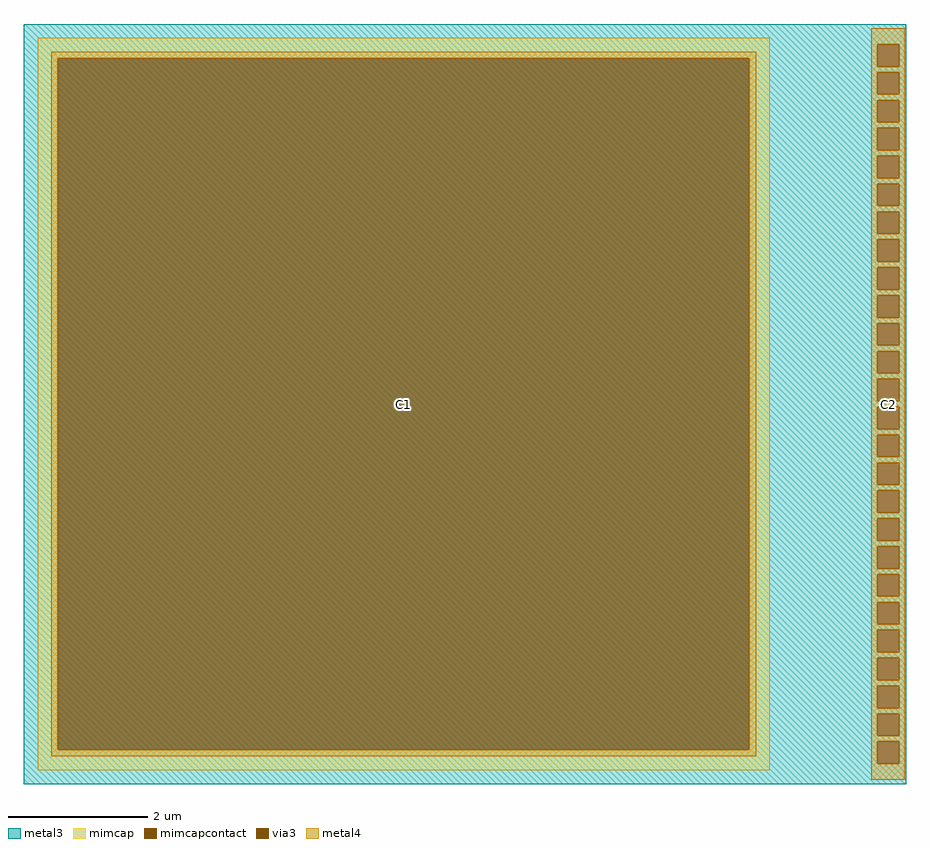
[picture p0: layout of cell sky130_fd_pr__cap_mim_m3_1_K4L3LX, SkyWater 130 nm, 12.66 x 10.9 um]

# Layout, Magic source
magic
tech sky130A
magscale 1 2
<< metal3 >>
rect -1266 1032 1266 1090
rect -1266 968 1182 1032
rect 1246 968 1266 1032
rect -1266 952 1266 968
rect -1266 888 1182 952
rect 1246 888 1266 952
rect -1266 872 1266 888
rect -1266 808 1182 872
rect 1246 808 1266 872
rect -1266 792 1266 808
rect -1266 728 1182 792
rect 1246 728 1266 792
rect -1266 712 1266 728
rect -1266 648 1182 712
rect 1246 648 1266 712
rect -1266 632 1266 648
rect -1266 568 1182 632
rect 1246 568 1266 632
rect -1266 552 1266 568
rect -1266 488 1182 552
rect 1246 488 1266 552
rect -1266 472 1266 488
rect -1266 408 1182 472
rect 1246 408 1266 472
rect -1266 392 1266 408
rect -1266 328 1182 392
rect 1246 328 1266 392
rect -1266 312 1266 328
rect -1266 248 1182 312
rect 1246 248 1266 312
rect -1266 232 1266 248
rect -1266 168 1182 232
rect 1246 168 1266 232
rect -1266 152 1266 168
rect -1266 88 1182 152
rect 1246 88 1266 152
rect -1266 72 1266 88
rect -1266 8 1182 72
rect 1246 8 1266 72
rect -1266 -8 1266 8
rect -1266 -72 1182 -8
rect 1246 -72 1266 -8
rect -1266 -88 1266 -72
rect -1266 -152 1182 -88
rect 1246 -152 1266 -88
rect -1266 -168 1266 -152
rect -1266 -232 1182 -168
rect 1246 -232 1266 -168
rect -1266 -248 1266 -232
rect -1266 -312 1182 -248
rect 1246 -312 1266 -248
rect -1266 -328 1266 -312
rect -1266 -392 1182 -328
rect 1246 -392 1266 -328
rect -1266 -408 1266 -392
rect -1266 -472 1182 -408
rect 1246 -472 1266 -408
rect -1266 -488 1266 -472
rect -1266 -552 1182 -488
rect 1246 -552 1266 -488
rect -1266 -568 1266 -552
rect -1266 -632 1182 -568
rect 1246 -632 1266 -568
rect -1266 -648 1266 -632
rect -1266 -712 1182 -648
rect 1246 -712 1266 -648
rect -1266 -728 1266 -712
rect -1266 -792 1182 -728
rect 1246 -792 1266 -728
rect -1266 -808 1266 -792
rect -1266 -872 1182 -808
rect 1246 -872 1266 -808
rect -1266 -888 1266 -872
rect -1266 -952 1182 -888
rect 1246 -952 1266 -888
rect -1266 -968 1266 -952
rect -1266 -1032 1182 -968
rect 1246 -1032 1266 -968
rect -1266 -1090 1266 -1032
<< via3 >>
rect 1182 968 1246 1032
rect 1182 888 1246 952
rect 1182 808 1246 872
rect 1182 728 1246 792
rect 1182 648 1246 712
rect 1182 568 1246 632
rect 1182 488 1246 552
rect 1182 408 1246 472
rect 1182 328 1246 392
rect 1182 248 1246 312
rect 1182 168 1246 232
rect 1182 88 1246 152
rect 1182 8 1246 72
rect 1182 -72 1246 -8
rect 1182 -152 1246 -88
rect 1182 -232 1246 -168
rect 1182 -312 1246 -248
rect 1182 -392 1246 -328
rect 1182 -472 1246 -408
rect 1182 -552 1246 -488
rect 1182 -632 1246 -568
rect 1182 -712 1246 -648
rect 1182 -792 1246 -728
rect 1182 -872 1246 -808
rect 1182 -952 1246 -888
rect 1182 -1032 1246 -968
<< mimcap >>
rect -1226 992 874 1050
rect -1226 -992 -1168 992
rect 816 -992 874 992
rect -1226 -1050 874 -992
<< mimcapcontact >>
rect -1168 -992 816 992
<< metal4 >>
rect 1166 1032 1262 1078
rect -1187 992 835 1011
rect -1187 -992 -1168 992
rect 816 -992 835 992
rect -1187 -1011 835 -992
rect 1166 968 1182 1032
rect 1246 968 1262 1032
rect 1166 952 1262 968
rect 1166 888 1182 952
rect 1246 888 1262 952
rect 1166 872 1262 888
rect 1166 808 1182 872
rect 1246 808 1262 872
rect 1166 792 1262 808
rect 1166 728 1182 792
rect 1246 728 1262 792
rect 1166 712 1262 728
rect 1166 648 1182 712
rect 1246 648 1262 712
rect 1166 632 1262 648
rect 1166 568 1182 632
rect 1246 568 1262 632
rect 1166 552 1262 568
rect 1166 488 1182 552
rect 1246 488 1262 552
rect 1166 472 1262 488
rect 1166 408 1182 472
rect 1246 408 1262 472
rect 1166 392 1262 408
rect 1166 328 1182 392
rect 1246 328 1262 392
rect 1166 312 1262 328
rect 1166 248 1182 312
rect 1246 248 1262 312
rect 1166 232 1262 248
rect 1166 168 1182 232
rect 1246 168 1262 232
rect 1166 152 1262 168
rect 1166 88 1182 152
rect 1246 88 1262 152
rect 1166 72 1262 88
rect 1166 8 1182 72
rect 1246 8 1262 72
rect 1166 -8 1262 8
rect 1166 -72 1182 -8
rect 1246 -72 1262 -8
rect 1166 -88 1262 -72
rect 1166 -152 1182 -88
rect 1246 -152 1262 -88
rect 1166 -168 1262 -152
rect 1166 -232 1182 -168
rect 1246 -232 1262 -168
rect 1166 -248 1262 -232
rect 1166 -312 1182 -248
rect 1246 -312 1262 -248
rect 1166 -328 1262 -312
rect 1166 -392 1182 -328
rect 1246 -392 1262 -328
rect 1166 -408 1262 -392
rect 1166 -472 1182 -408
rect 1246 -472 1262 -408
rect 1166 -488 1262 -472
rect 1166 -552 1182 -488
rect 1246 -552 1262 -488
rect 1166 -568 1262 -552
rect 1166 -632 1182 -568
rect 1246 -632 1262 -568
rect 1166 -648 1262 -632
rect 1166 -712 1182 -648
rect 1246 -712 1262 -648
rect 1166 -728 1262 -712
rect 1166 -792 1182 -728
rect 1246 -792 1262 -728
rect 1166 -808 1262 -792
rect 1166 -872 1182 -808
rect 1246 -872 1262 -808
rect 1166 -888 1262 -872
rect 1166 -952 1182 -888
rect 1246 -952 1262 -888
rect 1166 -968 1262 -952
rect 1166 -1032 1182 -968
rect 1246 -1032 1262 -968
rect 1166 -1078 1262 -1032
<< labels >>
rlabel metal4 s 1214 0 1214 0 4 C2
rlabel metal4 s -176 0 -176 0 4 C1
<< properties >>
string FIXED_BBOX -1266 -1090 914 1090
<< end >>
